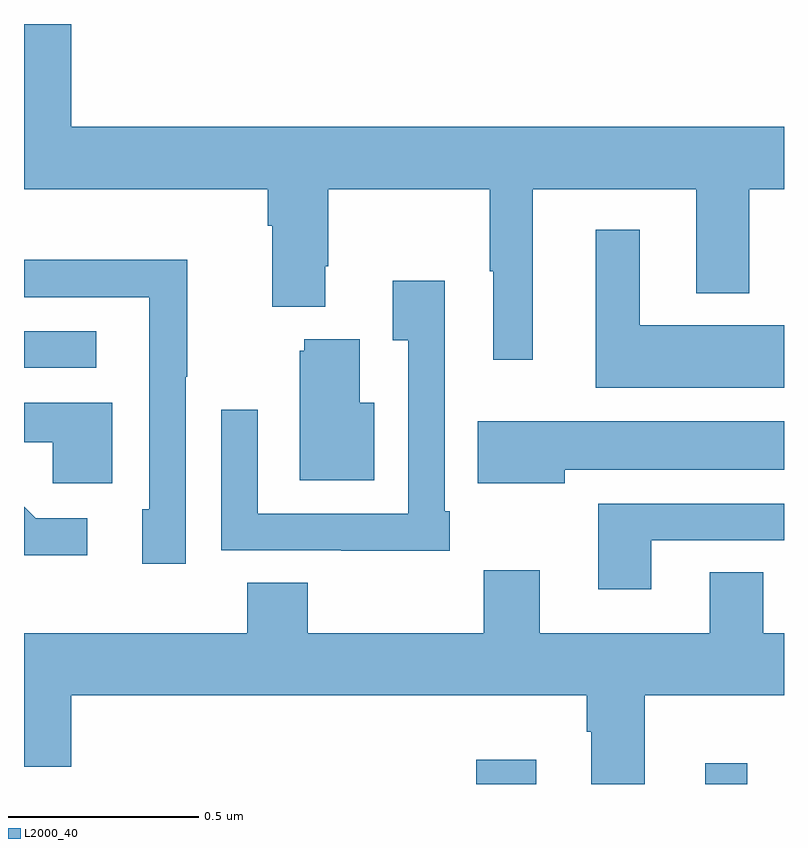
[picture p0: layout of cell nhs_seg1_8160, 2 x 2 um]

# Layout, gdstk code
import gdstk
lib = gdstk.Library(unit=1e-6, precision=1e-09)
def R(c, l, rs):  # rectangles x0, y0, x1, y1
    for r in rs: c.add(gdstk.rectangle(r[:2], r[2:], *l))
def P(c, l, *ps):  # polygons
    for p in ps: c.add(gdstk.Polygon(p, *l))
L2000_40 = (2000, 40)

nhs_seg1_8160 = lib.new_cell('nhs_seg1_8160')
R(nhs_seg1_8160, L2000_40, [(214.19,518.199,214.348,518.263), (214.793,518.199,214.903,518.254), (213,519.294,213.19,519.39)])
P(nhs_seg1_8160, L2000_40, [(214.339,519.764),(214.769,519.764),(214.769,519.491),(214.909,519.491),(214.909,519.764),(215,519.764),(215,519.928),(213.124,519.928),(213.124,520.199),(213,520.199),(213,519.764),(213.641,519.764),(213.641,519.668),(213.653,519.668),(213.653,519.455),(213.793,519.455),(213.793,519.562),(213.801,519.562),(213.801,519.764),(214.225,519.764),(214.225,519.548),(214.235,519.548),(214.235,519.315),(214.339,519.315)],
  [(215,519.406),(214.621,519.406),(214.621,519.658),(214.505,519.658),(214.505,519.242),(215,519.242)],
  [(213.426,519.271),(213.429,519.271),(213.429,519.578),(213,519.578),(213,519.48),(213.329,519.48),(213.329,519.226),(213.33,519.226),(213.33,518.922),(213.311,518.922),(213.311,518.778),(213.426,518.778)],
  [(214.12,518.917),(214.107,518.917),(214.107,519.523),(213.971,519.523),(213.971,519.367),(214.011,519.367),(214.011,518.91),(213.615,518.91),(213.615,519.184),(213.519,519.184),(213.519,518.814),(213.835,518.814),(213.835,518.813),(214.12,518.813)],
  [(213.922,519.202),(213.883,519.202),(213.883,519.37),(213.737,519.37),(213.737,519.339),(213.725,519.339),(213.725,518.999),(213.922,518.999)],
  [(213.232,519.202),(213,519.202),(213,519.098),(213.075,519.098),(213.075,518.99),(213.232,518.99)],
  [(214.423,519.026),(215,519.026),(215,519.154),(214.194,519.154),(214.194,518.99),(214.423,518.99)],
  [(214.651,518.841),(215,518.841),(215,518.937),(214.511,518.937),(214.511,518.712),(214.651,518.712)],
  [(213.166,518.898),(213.031,518.898),(213,518.929),(213,518.801),(213.166,518.801)],
  [(214.633,518.432),(215,518.432),(215,518.596),(214.945,518.596),(214.945,518.756),(214.805,518.756),(214.805,518.596),(214.357,518.596),(214.357,518.761),(214.21,518.761),(214.21,518.596),(213.747,518.596),(213.747,518.729),(213.587,518.729),(213.587,518.596),(213,518.596),(213,518.244),(213.124,518.244),(213.124,518.432),(214.481,518.432),(214.481,518.336),(214.493,518.336),(214.493,518.199),(214.633,518.199)])

lib.write_gds('nhs_seg1_8160.gds')
